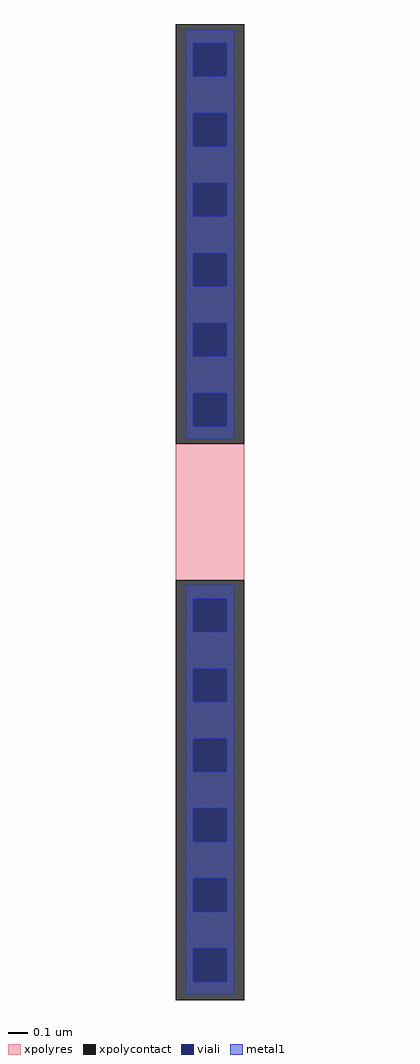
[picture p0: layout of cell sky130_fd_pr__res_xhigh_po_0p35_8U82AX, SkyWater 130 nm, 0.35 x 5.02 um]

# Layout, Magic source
magic
tech sky130A
magscale 1 2
<< xpolycontact >>
rect -35 70 35 502
rect -35 -502 35 -70
<< xpolyres >>
rect -35 -70 35 70
<< viali >>
rect -17 448 17 482
rect -17 376 17 410
rect -17 304 17 338
rect -17 232 17 266
rect -17 160 17 194
rect -17 88 17 122
rect -17 -123 17 -89
rect -17 -195 17 -161
rect -17 -267 17 -233
rect -17 -339 17 -305
rect -17 -411 17 -377
rect -17 -483 17 -449
<< metal1 >>
rect -25 482 25 496
rect -25 448 -17 482
rect 17 448 25 482
rect -25 410 25 448
rect -25 376 -17 410
rect 17 376 25 410
rect -25 338 25 376
rect -25 304 -17 338
rect 17 304 25 338
rect -25 266 25 304
rect -25 232 -17 266
rect 17 232 25 266
rect -25 194 25 232
rect -25 160 -17 194
rect 17 160 25 194
rect -25 122 25 160
rect -25 88 -17 122
rect 17 88 25 122
rect -25 75 25 88
rect -25 -89 25 -75
rect -25 -123 -17 -89
rect 17 -123 25 -89
rect -25 -161 25 -123
rect -25 -195 -17 -161
rect 17 -195 25 -161
rect -25 -233 25 -195
rect -25 -267 -17 -233
rect 17 -267 25 -233
rect -25 -305 25 -267
rect -25 -339 -17 -305
rect 17 -339 25 -305
rect -25 -377 25 -339
rect -25 -411 -17 -377
rect 17 -411 25 -377
rect -25 -449 25 -411
rect -25 -483 -17 -449
rect 17 -483 25 -449
rect -25 -496 25 -483
<< end >>
